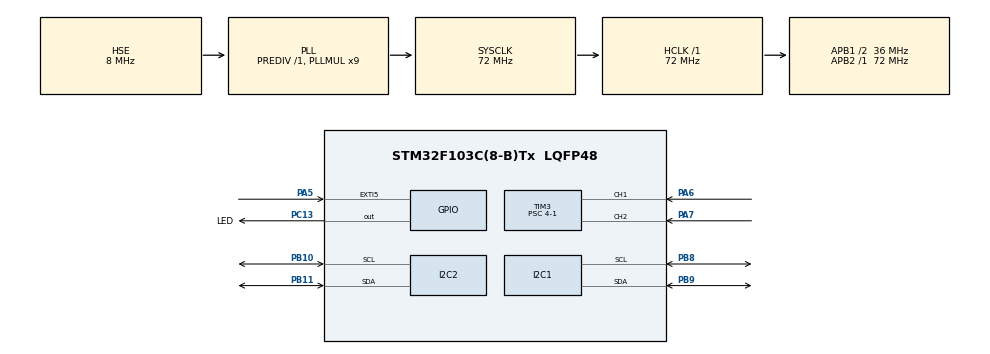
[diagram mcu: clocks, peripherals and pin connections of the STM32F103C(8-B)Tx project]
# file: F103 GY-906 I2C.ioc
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Mcu.Family=STM32F1
Mcu.Name=STM32F103C(8-B)Tx
Mcu.Package=LQFP48
NVIC.EXTI9_5_IRQn=true\:0\:0\:false\:false\:true\:true\:true\:true
NVIC.PriorityGroup=NVIC_PRIORITYGROUP_4
PA13.Mode=Serial_Wire
PA13.Signal=SYS_JTMS-SWDIO
PA14.Mode=Serial_Wire
PA14.Signal=SYS_JTCK-SWCLK
PA5.GPIO_ModeDefaultEXTI=GPIO_MODE_IT_FALLING
PA5.Signal=GPXTI5
PA6.Signal=S_TIM3_CH1
PA7.Signal=S_TIM3_CH2
PB10.Mode=I2C
PB10.Signal=I2C2_SCL
PB11.Mode=I2C
PB11.Signal=I2C2_SDA
PB8.Mode=I2C
PB8.Signal=I2C1_SCL
PB9.Mode=I2C
PB9.Signal=I2C1_SDA
PC13-TAMPER-RTC.GPIO_Label=LED
PC13-TAMPER-RTC.GPIO_PuPd=GPIO_NOPULL
PC13-TAMPER-RTC.Signal=GPIO_Output
PC14-OSC32_IN.Mode=LSE-External-Oscillator
PC14-OSC32_IN.Signal=RCC_OSC32_IN
PC15-OSC32_OUT.Mode=LSE-External-Oscillator
PC15-OSC32_OUT.Signal=RCC_OSC32_OUT
PD0-OSC_IN.Mode=HSE-External-Oscillator
PD0-OSC_IN.Signal=RCC_OSC_IN
PD1-OSC_OUT.Mode=HSE-External-Oscillator
PD1-OSC_OUT.Signal=RCC_OSC_OUT
ProjectManager.HeapSize=0x200
ProjectManager.StackSize=0x400
ProjectManager.TargetToolchain=STM32CubeIDE
RCC.AHBFreq_Value=72000000
RCC.APB1CLKDivider=RCC_HCLK_DIV2
RCC.APB1Freq_Value=36000000
RCC.APB1TimFreq_Value=72000000
RCC.APB2Freq_Value=72000000
RCC.APB2TimFreq_Value=72000000
RCC.HCLKFreq_Value=72000000
RCC.PLLMUL=RCC_PLL_MUL9
RCC.PLLSourceVirtual=RCC_PLLSOURCE_HSE
RCC.SYSCLKFreq_VALUE=72000000
RCC.SYSCLKSource=RCC_SYSCLKSOURCE_PLLCLK
RCC.USBFreq_Value=72000000
SH.S_TIM3_CH1.0=TIM3_CH1,Encoder_Interface
SH.S_TIM3_CH2.0=TIM3_CH2,Encoder_Interface
TIM3.EncoderMode=TIM_ENCODERMODE_TI12
TIM3.Prescaler=4-1
board=custom

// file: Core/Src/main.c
/* USER CODE BEGIN Header */
/**
 ******************************************************************************
 * @file           : main.c
 * @brief          : Main program body
 ******************************************************************************
 * @attention
 *
 * Copyright (c) 2023 STMicroelectronics.
 * All rights reserved.
 *
 * This software is licensed under terms that can be found in the LICENSE file
 * in the root directory of this software component.
 * If no LICENSE file comes with this software, it is provided AS-IS.
 *
 ******************************************************************************
 */
/* USER CODE END Header */
#include "main.h"
#include "i2c.h"
#include "tim.h"
#include "gpio.h"

/* USER CODE BEGIN Includes */

#include <mlx90614.h>
#include <ssd1306.h>
#include <stdio.h>
#include <string.h>

/* USER CODE END Includes */

/* USER CODE BEGIN PV */

uint8_t mode = 0; // 0 CONTINUOUS, 1 SINGLE
uint8_t single_flag = 0;
float Ambient;
float Object;
float emissivity;

char buffer[20];

/* USER CODE END PV */

void SystemClock_Config(void);
/* USER CODE BEGIN PFP */

void encoder_handler();
void button_handler();

/* USER CODE END PFP */

int main(void) {

	/* MCU Configuration--------------------------------------------------------*/

	/* Reset of all peripherals, Initializes the Flash interface and the Systick. */
	HAL_Init();

	/* Configure the system clock */
	SystemClock_Config();

	/* Initialize all configured peripherals */
	MX_GPIO_Init();
	MX_I2C1_Init();
	MX_I2C2_Init();
	MX_TIM3_Init();
	/* USER CODE BEGIN 2 */

	ssd1306_Init();
	HAL_TIM_Encoder_Start(&htim3, TIM_CHANNEL_ALL);

	/* USER CODE END 2 */

	/* Infinite loop */
	/* USER CODE BEGIN WHILE */
	while (1) {
		button_handler();

		// Take measurements
		if (!mode || single_flag) {
			single_flag = 0;
			Ambient = MLX90614_ReadTemp(MLX90614_DEFAULT_SA, MLX90614_TAMB);
			Object = MLX90614_ReadTemp(MLX90614_DEFAULT_SA, MLX90614_TOBJ1);
		}
		emissivity = MLX90614_ReadReg(MLX90614_DEFAULT_SA, MLX90614_EMISSIVITY, 0) / 65535.0;

		// Draw mode
		ssd1306_Fill(Black);
		if (!mode) {
			ssd1306_SetCursor(29, 0);
			ssd1306_WriteString("CONTINUOUS", Font_7x10, White);
		} else {
			ssd1306_SetCursor(43, 0);
			ssd1306_WriteString("SINGLE", Font_7x10, White);
		}

		// Draw Object temp
		ssd1306_SetCursor(5, 13);
		ssd1306_WriteString("TO:", Font_11x18, White);
		sprintf(buffer, "%.2f", Object);
		ssd1306_SetCursor(40 + (8 - strlen(buffer)) * 11, 13);
		ssd1306_WriteString(buffer, Font_11x18, White);

		// Draw Ambient temp
		ssd1306_SetCursor(5, 33);
		ssd1306_WriteString("TA:", Font_11x18, White);
		sprintf(buffer, "%.2f", Ambient);
		ssd1306_SetCursor(40 + (8 - strlen(buffer)) * 11, 33);
		ssd1306_WriteString(buffer, Font_11x18, White);

		// Draw Emissivity
		ssd1306_SetCursor(5, 53);
		sprintf(buffer, "Emissivity: %.2f", emissivity);
		ssd1306_WriteString(buffer, Font_7x10, White);

		// Finalize screen draw
		ssd1306_UpdateScreen();

		/* USER CODE END WHILE */

	}
}

void SystemClock_Config(void) {
	RCC_OscInitTypeDef RCC_OscInitStruct = { 0 };
	RCC_ClkInitTypeDef RCC_ClkInitStruct = { 0 };

	/** Initializes the RCC Oscillators according to the specified parameters
	 * in the RCC_OscInitTypeDef structure.
	 */
	RCC_OscInitStruct.OscillatorType = RCC_OSCILLATORTYPE_HSE;
	RCC_OscInitStruct.HSEState = RCC_HSE_ON;
	RCC_OscInitStruct.HSEPredivValue = RCC_HSE_PREDIV_DIV1;
	RCC_OscInitStruct.HSIState = RCC_HSI_ON;
	RCC_OscInitStruct.PLL.PLLState = RCC_PLL_ON;
	RCC_OscInitStruct.PLL.PLLSource = RCC_PLLSOURCE_HSE;
	RCC_OscInitStruct.PLL.PLLMUL = RCC_PLL_MUL9;
	if (HAL_RCC_OscConfig(&RCC_OscInitStruct) != HAL_OK) {
		Error_Handler();
	}

	/** Initializes the CPU, AHB and APB buses clocks
	 */
	RCC_ClkInitStruct.ClockType = RCC_CLOCKTYPE_HCLK | RCC_CLOCKTYPE_SYSCLK | RCC_CLOCKTYPE_PCLK1 | RCC_CLOCKTYPE_PCLK2;
	RCC_ClkInitStruct.SYSCLKSource = RCC_SYSCLKSOURCE_PLLCLK;
	RCC_ClkInitStruct.AHBCLKDivider = RCC_SYSCLK_DIV1;
	RCC_ClkInitStruct.APB1CLKDivider = RCC_HCLK_DIV2;
	RCC_ClkInitStruct.APB2CLKDivider = RCC_HCLK_DIV1;

	if (HAL_RCC_ClockConfig(&RCC_ClkInitStruct, FLASH_LATENCY_2) != HAL_OK) {
		Error_Handler();
	}
}

/* USER CODE BEGIN 4 */

void button_handler() {
	uint8_t button_now = HAL_GPIO_ReadPin(GPIOA, GPIO_PIN_5);
	static uint32_t time_held = 0;
	static uint8_t run_once = 0;

	if (button_now) {
		// button up
		time_held = HAL_GetTick();
		run_once = 1;
	} else {
		// button down
		if (HAL_GetTick() - time_held > 500 && run_once) {
			mode = !mode;
			run_once = 0;
		}
	}
}

void encoder_handler() {
	int16_t encoder = __HAL_TIM_GET_COUNTER(&htim3);
	if (encoder < 1) {
		__HAL_TIM_SET_COUNTER(&htim3, 1);
		return;
	} else if (encoder > 100) {
		__HAL_TIM_SET_COUNTER(&htim3, 100);
		return;
	}
}

void HAL_GPIO_EXTI_Callback(uint16_t GPIO_Pin) {
	if (GPIO_Pin == GPIO_PIN_5) {
		if (mode) {
			single_flag = 1;
		}
	}
}

/* USER CODE END 4 */

void Error_Handler(void) {
	__disable_irq();
	while (1) {
	}
}
